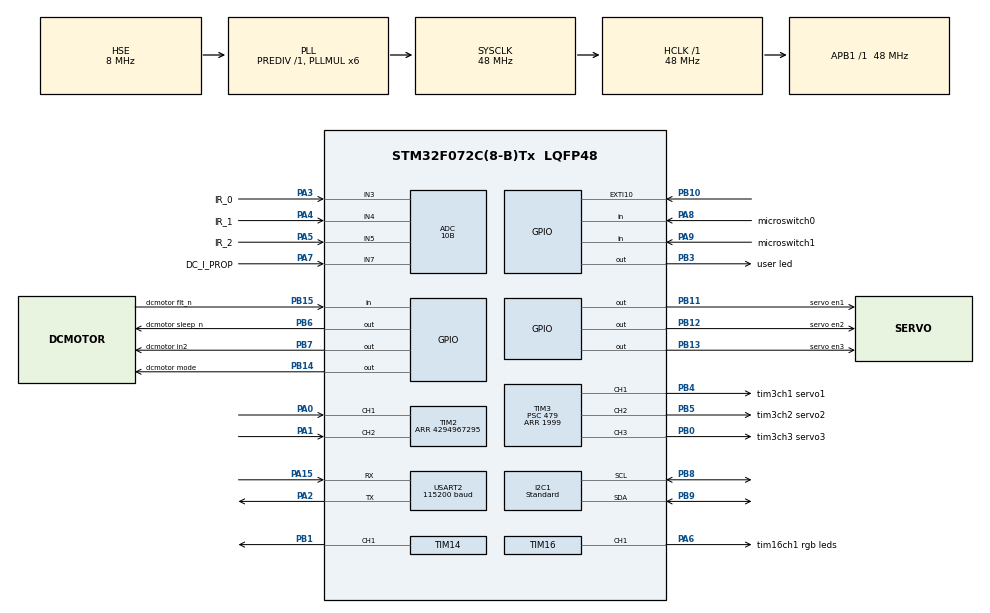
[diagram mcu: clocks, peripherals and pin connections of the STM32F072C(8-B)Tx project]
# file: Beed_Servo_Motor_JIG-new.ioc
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ADC.ContinuousConvMode=ENABLE
ADC.DMAContinuousRequests=ENABLE
ADC.Resolution=ADC_RESOLUTION_10B
ADC.SamplingTime=ADC_SAMPLETIME_71CYCLES_5
Dma.ADC.0.Direction=DMA_PERIPH_TO_MEMORY
Dma.ADC.0.Instance=DMA1_Channel1
Dma.ADC.0.MemDataAlignment=DMA_MDATAALIGN_HALFWORD
Dma.ADC.0.MemInc=DMA_MINC_ENABLE
Dma.ADC.0.Mode=DMA_CIRCULAR
Dma.ADC.0.PeriphDataAlignment=DMA_PDATAALIGN_HALFWORD
Dma.ADC.0.PeriphInc=DMA_PINC_DISABLE
Dma.ADC.0.Priority=DMA_PRIORITY_LOW
Dma.Request0=ADC
Dma.Request1=TIM16_CH1/UP
Dma.Request2=USART2_RX
Dma.TIM16_CH1/UP.1.Direction=DMA_MEMORY_TO_PERIPH
Dma.TIM16_CH1/UP.1.Instance=DMA1_Channel3
Dma.TIM16_CH1/UP.1.MemDataAlignment=DMA_MDATAALIGN_HALFWORD
Dma.TIM16_CH1/UP.1.MemInc=DMA_MINC_ENABLE
Dma.TIM16_CH1/UP.1.Mode=DMA_NORMAL
Dma.TIM16_CH1/UP.1.PeriphDataAlignment=DMA_PDATAALIGN_HALFWORD
Dma.TIM16_CH1/UP.1.PeriphInc=DMA_PINC_DISABLE
Dma.TIM16_CH1/UP.1.Priority=DMA_PRIORITY_VERY_HIGH
Dma.USART2_RX.2.Direction=DMA_PERIPH_TO_MEMORY
Dma.USART2_RX.2.Instance=DMA1_Channel5
Dma.USART2_RX.2.MemDataAlignment=DMA_MDATAALIGN_BYTE
Dma.USART2_RX.2.MemInc=DMA_MINC_ENABLE
Dma.USART2_RX.2.Mode=DMA_NORMAL
Dma.USART2_RX.2.PeriphDataAlignment=DMA_PDATAALIGN_BYTE
Dma.USART2_RX.2.PeriphInc=DMA_PINC_DISABLE
Dma.USART2_RX.2.Priority=DMA_PRIORITY_LOW
I2C1.I2C_Speed_Mode=I2C_Standard
Mcu.Family=STM32F0
Mcu.Name=STM32F072C(8-B)Tx
Mcu.Package=LQFP48
NVIC.DMA1_Channel1_IRQn=true\:0\:0\:false\:false\:true\:false\:true\:true
NVIC.DMA1_Channel2_3_IRQn=true\:0\:0\:false\:false\:true\:false\:true\:true
NVIC.DMA1_Channel4_5_6_7_IRQn=true\:0\:0\:false\:false\:true\:false\:true\:true
NVIC.EXTI4_15_IRQn=true\:0\:0\:false\:false\:true\:true\:true\:true
NVIC.TIM17_IRQn=true\:0\:0\:false\:false\:true\:true\:true\:true
NVIC.USART2_IRQn=true\:0\:0\:false\:true\:true\:1\:true\:true\:true
PA0.Signal=S_TIM2_CH1_ETR
PA1.Signal=S_TIM2_CH2
PA13.Mode=Serial_Wire
PA13.Signal=SYS_SWDIO
PA14.Mode=Serial_Wire
PA14.Signal=SYS_SWCLK
PA15.Mode=Asynchronous
PA15.Signal=USART2_RX
PA2.Mode=Asynchronous
PA2.Signal=USART2_TX
PA3.GPIO_Label=IR_0
PA3.Mode=IN3
PA3.Signal=ADC_IN3
PA4.GPIO_Label=IR_1
PA4.Mode=IN4
PA4.Signal=ADC_IN4
PA5.GPIO_Label=IR_2
PA5.Mode=IN5
PA5.Signal=ADC_IN5
PA6.GPIO_Label=tim16ch1 rgb leds
PA6.GPIO_Speed=GPIO_SPEED_FREQ_HIGH
PA6.Signal=S_TIM16_CH1
PA7.GPIO_Label=DC_I_PROP
PA7.Mode=IN7
PA7.Signal=ADC_IN7
PA8.GPIO_Label=microswitch0
PA8.Signal=GPIO_Input
PA9.GPIO_Label=microswitch1
PA9.Signal=GPIO_Input
PB0.GPIO_Label=tim3ch3 servo3
PB0.Signal=S_TIM3_CH3
PB1.Signal=S_TIM14_CH1
PB10.Signal=GPXTI10
PB11.GPIO_Label=servo en1
PB11.Signal=GPIO_Output
PB12.GPIO_Label=servo en2
PB12.Signal=GPIO_Output
PB13.GPIO_Label=servo en3
PB13.Signal=GPIO_Output
PB14.GPIO_Label=dcmotor mode
PB14.Signal=GPIO_Output
PB15.GPIO_Label=dcmotor flt_n
PB15.Signal=GPIO_Input
PB3.GPIO_Label=user led
PB3.Signal=GPIO_Output
PB4.GPIO_Label=tim3ch1 servo1
PB4.Signal=S_TIM3_CH1
PB5.GPIO_Label=tim3ch2 servo2
PB5.Signal=S_TIM3_CH2
PB6.GPIO_Label=dcmotor sleep_n
PB6.Signal=GPIO_Output
PB7.GPIO_Label=dcmotor in2
PB7.Signal=GPIO_Output
PB8.GPIO_Pu=GPIO_PULLUP
PB8.Mode=I2C
PB8.Signal=I2C1_SCL
PB9.GPIO_Pu=GPIO_PULLUP
PB9.Mode=I2C
PB9.Signal=I2C1_SDA
PF0-OSC_IN.Mode=HSE-External-Oscillator
PF0-OSC_IN.Signal=RCC_OSC_IN
PF1-OSC_OUT.Mode=HSE-External-Oscillator
PF1-OSC_OUT.Signal=RCC_OSC_OUT
ProjectManager.HeapSize=0x200
ProjectManager.StackSize=0x400
ProjectManager.TargetToolchain=STM32CubeIDE
RCC.AHBFreq_Value=48000000
RCC.APB1Freq_Value=48000000
RCC.APB1TimFreq_Value=48000000
RCC.HCLKFreq_Value=48000000
RCC.PLLMUL=RCC_PLL_MUL6
RCC.PLLSourceVirtual=RCC_PLLSOURCE_HSE
RCC.SYSCLKFreq_VALUE=48000000
RCC.SYSCLKSource=RCC_SYSCLKSOURCE_PLLCLK
SH.S_TIM14_CH1.0=TIM14_CH1,PWM Generation1 CH1
SH.S_TIM16_CH1.0=TIM16_CH1,PWM Generation1 CH1
SH.S_TIM2_CH1_ETR.0=TIM2_CH1,Encoder_Interface
SH.S_TIM2_CH2.0=TIM2_CH2,Encoder_Interface
SH.S_TIM3_CH1.0=TIM3_CH1,PWM Generation1 CH1
SH.S_TIM3_CH2.0=TIM3_CH2,PWM Generation2 CH2
SH.S_TIM3_CH3.0=TIM3_CH3,PWM Generation3 CH3
TIM14.Channel=TIM_CHANNEL_1
TIM14.Period=255
TIM14.Prescaler=2
TIM16.Channel=TIM_CHANNEL_1
TIM16.OCFastMode_PWM=TIM_OCFAST_DISABLE
TIM16.OCMode_PWM=TIM_OCMODE_PWM1
TIM16.OCPolarity_1=TIM_OCPOLARITY_HIGH
TIM16.Period=59
TIM16.Prescaler=0
TIM16.Pulse=15
TIM17.Period=99
TIM17.Prescaler=4799
TIM2.EncoderMode=TIM_ENCODERMODE_TI12
TIM2.Period=4294967295
TIM3.Channel-PWM\ Generation1\ CH1=TIM_CHANNEL_1
TIM3.Channel-PWM\ Generation2\ CH2=TIM_CHANNEL_2
TIM3.Channel-PWM\ Generation3\ CH3=TIM_CHANNEL_3
TIM3.Period=1999
TIM3.Prescaler=479
TIM3.Pulse-PWM\ Generation1\ CH1=50
TIM3.Pulse-PWM\ Generation2\ CH2=50
TIM3.Pulse-PWM\ Generation3\ CH3=50
USART2.BaudRate=115200
USART2.VirtualMode-Asynchronous=VM_ASYNC
VP_TIM14_VS_ClockSourceINT.Mode=Enable_Timer
VP_TIM16_VS_ClockSourceINT.Mode=Enable_Timer
VP_TIM17_VS_ClockSourceINT.Mode=Enable_Timer
VP_TIM3_VS_ClockSourceINT.Mode=Internal
board=custom

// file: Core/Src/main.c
/* USER CODE BEGIN Header */
/**
  ******************************************************************************
  * @file           : main.c
  * @brief          : Main program body
  ******************************************************************************
  * @attention
  *
  * Copyright (c) 2022 STMicroelectronics.
  * All rights reserved.
  *
  * This software is licensed under terms that can be found in the LICENSE file
  * in the root directory of this software component.
  * If no LICENSE file comes with this software, it is provided AS-IS.
  *
  ******************************************************************************
  */
/* USER CODE END Header */
#include "main.h"

/* USER CODE BEGIN Includes */
#include "servo.h"
#include "uart.h"
#include "decode_packet.h"
#include "functions.h"
#include "colors.h"
#include "addressable_led.h"
#include <stdlib.h>
#include <stdio.h>

/* USER CODE END Includes */

/* USER CODE BEGIN PD */
#define ms_pin GPIO_PIN_10
/* USER CODE END PD */

 ADC_HandleTypeDef hadc;
DMA_HandleTypeDef hdma_adc;

I2C_HandleTypeDef hi2c1;

TIM_HandleTypeDef htim2;
TIM_HandleTypeDef htim3;
TIM_HandleTypeDef htim14;
TIM_HandleTypeDef htim16;
TIM_HandleTypeDef htim17;
DMA_HandleTypeDef hdma_tim16_ch1_up;

UART_HandleTypeDef huart2;
DMA_HandleTypeDef hdma_usart2_rx;

/* USER CODE BEGIN PV */

servo_controller servo_motor_1;
int8_t servo_offset=0;
int servo_ang=0;

uint16_t adc_buffer[4]; //0-3 sensors HW configuration. 3 is dc motor

char buf[511]; //uart buff for messaging

long preMillis=0;

led_controller led_indicator;

/* USER CODE END PV */

void SystemClock_Config(void);
static void MX_GPIO_Init(void);
static void MX_DMA_Init(void);
static void MX_ADC_Init(void);
static void MX_TIM2_Init(void);
static void MX_TIM16_Init(void);
static void MX_TIM3_Init(void);
static void MX_USART2_UART_Init(void);
static void MX_TIM17_Init(void);
static void MX_TIM14_Init(void);
static void MX_I2C1_Init(void);
static void MX_NVIC_Init(void);

int main(void)
{

  /* MCU Configuration--------------------------------------------------------*/

  /* Reset of all peripherals, Initializes the Flash interface and the Systick. */
  HAL_Init();

  /* Configure the system clock */
  SystemClock_Config();

  /* Initialize all configured peripherals */
  MX_GPIO_Init();
  MX_DMA_Init();
  MX_ADC_Init();
  MX_TIM2_Init();
  MX_TIM16_Init();
  MX_TIM3_Init();
  MX_USART2_UART_Init();
  MX_TIM17_Init();
  MX_TIM14_Init();
  MX_I2C1_Init();

  /* Initialize interrupts */
  MX_NVIC_Init();
  /* USER CODE BEGIN 2 */

//------------------------------------------------UART

//  setup_uart();

//-------------------------------------------------servo init

  servo_init(&servo_motor_1,&htim3,TIM_CHANNEL_2,servo_offset,GPIOB,GPIO_PIN_5);

//-------------------------------------------------led init

  leds_init(&led_indicator, &htim16, TIM_CHANNEL_1);
  HAL_Delay(500);
//  set_led_color(&led_indicator,0, 255, 0, 0);
//  set_led_color(&led_indicator,0, 255, 0, 1);
  set_color(0,300,0,0);
  set_color(0,300,0,1);
  led_display(&led_indicator);

//------------------------------------------------

  /* USER CODE END 2 */

  /* Infinite loop */
  /* USER CODE BEGIN WHILE */
  while (1)
  {
	  if(IsDataAvailable())
	  {
		  char rxBuf[255] = {0};
	 	  int len = read_serial_all(rxBuf);
		  servo_ang=decode_packet(rxBuf, len);
	  }

	  motor_assy_logic();
	  servo_move(&servo_motor_1,0);
	  motor_torque_check();

    /* USER CODE END WHILE */

  }
}

void SystemClock_Config(void)
{
  RCC_OscInitTypeDef RCC_OscInitStruct = {0};
  RCC_ClkInitTypeDef RCC_ClkInitStruct = {0};
  RCC_PeriphCLKInitTypeDef PeriphClkInit = {0};

  /** Initializes the RCC Oscillators according to the specified parameters
  * in the RCC_OscInitTypeDef structure.
  */
  RCC_OscInitStruct.OscillatorType = RCC_OSCILLATORTYPE_HSI|RCC_OSCILLATORTYPE_HSI14
                              |RCC_OSCILLATORTYPE_HSE;
  RCC_OscInitStruct.HSEState = RCC_HSE_ON;
  RCC_OscInitStruct.HSIState = RCC_HSI_ON;
  RCC_OscInitStruct.HSI14State = RCC_HSI14_ON;
  RCC_OscInitStruct.HSICalibrationValue = RCC_HSICALIBRATION_DEFAULT;
  RCC_OscInitStruct.HSI14CalibrationValue = 16;
  RCC_OscInitStruct.PLL.PLLState = RCC_PLL_ON;
  RCC_OscInitStruct.PLL.PLLSource = RCC_PLLSOURCE_HSE;
  RCC_OscInitStruct.PLL.PLLMUL = RCC_PLL_MUL6;
  RCC_OscInitStruct.PLL.PREDIV = RCC_PREDIV_DIV1;
  if (HAL_RCC_OscConfig(&RCC_OscInitStruct) != HAL_OK)
  {
    Error_Handler();
  }

  /** Initializes the CPU, AHB and APB buses clocks
  */
  RCC_ClkInitStruct.ClockType = RCC_CLOCKTYPE_HCLK|RCC_CLOCKTYPE_SYSCLK
                              |RCC_CLOCKTYPE_PCLK1;
  RCC_ClkInitStruct.SYSCLKSource = RCC_SYSCLKSOURCE_PLLCLK;
  RCC_ClkInitStruct.AHBCLKDivider = RCC_SYSCLK_DIV1;
  RCC_ClkInitStruct.APB1CLKDivider = RCC_HCLK_DIV1;

  if (HAL_RCC_ClockConfig(&RCC_ClkInitStruct, FLASH_LATENCY_1) != HAL_OK)
  {
    Error_Handler();
  }
  PeriphClkInit.PeriphClockSelection = RCC_PERIPHCLK_USART2|RCC_PERIPHCLK_I2C1;
  PeriphClkInit.Usart2ClockSelection = RCC_USART2CLKSOURCE_PCLK1;
  PeriphClkInit.I2c1ClockSelection = RCC_I2C1CLKSOURCE_HSI;
  if (HAL_RCCEx_PeriphCLKConfig(&PeriphClkInit) != HAL_OK)
  {
    Error_Handler();
  }
}

/**
  * @brief NVIC Configuration.
  * @retval None
  */
static void MX_NVIC_Init(void)
{
  /* USART2_IRQn interrupt configuration */
  HAL_NVIC_SetPriority(USART2_IRQn, 0, 0);
  HAL_NVIC_EnableIRQ(USART2_IRQn);
}

static void MX_ADC_Init(void)
{

  ADC_ChannelConfTypeDef sConfig = {0};

  /** Configure the global features of the ADC (Clock, Resolution, Data Alignment and number of conversion)
  */
  hadc.Instance = ADC1;
  hadc.Init.ClockPrescaler = ADC_CLOCK_ASYNC_DIV1;
  hadc.Init.Resolution = ADC_RESOLUTION_10B;
  hadc.Init.DataAlign = ADC_DATAALIGN_RIGHT;
  hadc.Init.ScanConvMode = ADC_SCAN_DIRECTION_FORWARD;
  hadc.Init.EOCSelection = ADC_EOC_SINGLE_CONV;
  hadc.Init.LowPowerAutoWait = DISABLE;
  hadc.Init.LowPowerAutoPowerOff = DISABLE;
  hadc.Init.ContinuousConvMode = ENABLE;
  hadc.Init.DiscontinuousConvMode = DISABLE;
  hadc.Init.ExternalTrigConv = ADC_SOFTWARE_START;
  hadc.Init.ExternalTrigConvEdge = ADC_EXTERNALTRIGCONVEDGE_NONE;
  hadc.Init.DMAContinuousRequests = ENABLE;
  hadc.Init.Overrun = ADC_OVR_DATA_PRESERVED;
  if (HAL_ADC_Init(&hadc) != HAL_OK)
  {
    Error_Handler();
  }

  /** Configure for the selected ADC regular channel to be converted.
  */
  sConfig.Channel = ADC_CHANNEL_3;
  sConfig.Rank = ADC_RANK_CHANNEL_NUMBER;
  sConfig.SamplingTime = ADC_SAMPLETIME_71CYCLES_5;
  if (HAL_ADC_ConfigChannel(&hadc, &sConfig) != HAL_OK)
  {
    Error_Handler();
  }

  /** Configure for the selected ADC regular channel to be converted.
  */
  sConfig.Channel = ADC_CHANNEL_4;
  if (HAL_ADC_ConfigChannel(&hadc, &sConfig) != HAL_OK)
  {
    Error_Handler();
  }

  /** Configure for the selected ADC regular channel to be converted.
  */
  sConfig.Channel = ADC_CHANNEL_5;
  if (HAL_ADC_ConfigChannel(&hadc, &sConfig) != HAL_OK)
  {
    Error_Handler();
  }

  /** Configure for the selected ADC regular channel to be converted.
  */
  sConfig.Channel = ADC_CHANNEL_7;
  if (HAL_ADC_ConfigChannel(&hadc, &sConfig) != HAL_OK)
  {
    Error_Handler();
  }

}

static void MX_I2C1_Init(void)
{

  hi2c1.Instance = I2C1;
  hi2c1.Init.Timing = 0x2000090E;
  hi2c1.Init.OwnAddress1 = 0;
  hi2c1.Init.AddressingMode = I2C_ADDRESSINGMODE_7BIT;
  hi2c1.Init.DualAddressMode = I2C_DUALADDRESS_DISABLE;
  hi2c1.Init.OwnAddress2 = 0;
  hi2c1.Init.OwnAddress2Masks = I2C_OA2_NOMASK;
  hi2c1.Init.GeneralCallMode = I2C_GENERALCALL_DISABLE;
  hi2c1.Init.NoStretchMode = I2C_NOSTRETCH_DISABLE;
  if (HAL_I2C_Init(&hi2c1) != HAL_OK)
  {
    Error_Handler();
  }

  /** Configure Analogue filter
  */
  if (HAL_I2CEx_ConfigAnalogFilter(&hi2c1, I2C_ANALOGFILTER_ENABLE) != HAL_OK)
  {
    Error_Handler();
  }

  /** Configure Digital filter
  */
  if (HAL_I2CEx_ConfigDigitalFilter(&hi2c1, 0) != HAL_OK)
  {
    Error_Handler();
  }

}

static void MX_TIM2_Init(void)
{

  TIM_Encoder_InitTypeDef sConfig = {0};
  TIM_MasterConfigTypeDef sMasterConfig = {0};

  htim2.Instance = TIM2;
  htim2.Init.Prescaler = 0;
  htim2.Init.CounterMode = TIM_COUNTERMODE_UP;
  htim2.Init.Period = 4294967295;
  htim2.Init.ClockDivision = TIM_CLOCKDIVISION_DIV1;
  htim2.Init.AutoReloadPreload = TIM_AUTORELOAD_PRELOAD_DISABLE;
  sConfig.EncoderMode = TIM_ENCODERMODE_TI12;
  sConfig.IC1Polarity = TIM_ICPOLARITY_RISING;
  sConfig.IC1Selection = TIM_ICSELECTION_DIRECTTI;
  sConfig.IC1Prescaler = TIM_ICPSC_DIV1;
  sConfig.IC1Filter = 0;
  sConfig.IC2Polarity = TIM_ICPOLARITY_RISING;
  sConfig.IC2Selection = TIM_ICSELECTION_DIRECTTI;
  sConfig.IC2Prescaler = TIM_ICPSC_DIV1;
  sConfig.IC2Filter = 0;
  if (HAL_TIM_Encoder_Init(&htim2, &sConfig) != HAL_OK)
  {
    Error_Handler();
  }
  sMasterConfig.MasterOutputTrigger = TIM_TRGO_RESET;
  sMasterConfig.MasterSlaveMode = TIM_MASTERSLAVEMODE_DISABLE;
  if (HAL_TIMEx_MasterConfigSynchronization(&htim2, &sMasterConfig) != HAL_OK)
  {
    Error_Handler();
  }

}

static void MX_TIM3_Init(void)
{

  TIM_ClockConfigTypeDef sClockSourceConfig = {0};
  TIM_MasterConfigTypeDef sMasterConfig = {0};
  TIM_OC_InitTypeDef sConfigOC = {0};

  htim3.Instance = TIM3;
  htim3.Init.Prescaler = 479;
  htim3.Init.CounterMode = TIM_COUNTERMODE_UP;
  htim3.Init.Period = 1999;
  htim3.Init.ClockDivision = TIM_CLOCKDIVISION_DIV1;
  htim3.Init.AutoReloadPreload = TIM_AUTORELOAD_PRELOAD_DISABLE;
  if (HAL_TIM_Base_Init(&htim3) != HAL_OK)
  {
    Error_Handler();
  }
  sClockSourceConfig.ClockSource = TIM_CLOCKSOURCE_INTERNAL;
  if (HAL_TIM_ConfigClockSource(&htim3, &sClockSourceConfig) != HAL_OK)
  {
    Error_Handler();
  }
  if (HAL_TIM_PWM_Init(&htim3) != HAL_OK)
  {
    Error_Handler();
  }
  sMasterConfig.MasterOutputTrigger = TIM_TRGO_RESET;
  sMasterConfig.MasterSlaveMode = TIM_MASTERSLAVEMODE_DISABLE;
  if (HAL_TIMEx_MasterConfigSynchronization(&htim3, &sMasterConfig) != HAL_OK)
  {
    Error_Handler();
  }
  sConfigOC.OCMode = TIM_OCMODE_PWM1;
  sConfigOC.Pulse = 50;
  sConfigOC.OCPolarity = TIM_OCPOLARITY_HIGH;
  sConfigOC.OCFastMode = TIM_OCFAST_DISABLE;
  if (HAL_TIM_PWM_ConfigChannel(&htim3, &sConfigOC, TIM_CHANNEL_1) != HAL_OK)
  {
    Error_Handler();
  }
  if (HAL_TIM_PWM_ConfigChannel(&htim3, &sConfigOC, TIM_CHANNEL_2) != HAL_OK)
  {
    Error_Handler();
  }
  if (HAL_TIM_PWM_ConfigChannel(&htim3, &sConfigOC, TIM_CHANNEL_3) != HAL_OK)
  {
    Error_Handler();
  }
  HAL_TIM_MspPostInit(&htim3);

}

static void MX_TIM14_Init(void)
{

  TIM_OC_InitTypeDef sConfigOC = {0};

  htim14.Instance = TIM14;
  htim14.Init.Prescaler = 2;
  htim14.Init.CounterMode = TIM_COUNTERMODE_UP;
  htim14.Init.Period = 255;
  htim14.Init.ClockDivision = TIM_CLOCKDIVISION_DIV1;
  htim14.Init.AutoReloadPreload = TIM_AUTORELOAD_PRELOAD_DISABLE;
  if (HAL_TIM_Base_Init(&htim14) != HAL_OK)
  {
    Error_Handler();
  }
  if (HAL_TIM_PWM_Init(&htim14) != HAL_OK)
  {
    Error_Handler();
  }
  sConfigOC.OCMode = TIM_OCMODE_PWM1;
  sConfigOC.Pulse = 0;
  sConfigOC.OCPolarity = TIM_OCPOLARITY_HIGH;
  sConfigOC.OCFastMode = TIM_OCFAST_DISABLE;
  if (HAL_TIM_PWM_ConfigChannel(&htim14, &sConfigOC, TIM_CHANNEL_1) != HAL_OK)
  {
    Error_Handler();
  }
  HAL_TIM_MspPostInit(&htim14);

}

static void MX_TIM16_Init(void)
{

  TIM_OC_InitTypeDef sConfigOC = {0};
  TIM_BreakDeadTimeConfigTypeDef sBreakDeadTimeConfig = {0};

  htim16.Instance = TIM16;
  htim16.Init.Prescaler = 0;
  htim16.Init.CounterMode = TIM_COUNTERMODE_UP;
  htim16.Init.Period = 59;
  htim16.Init.ClockDivision = TIM_CLOCKDIVISION_DIV1;
  htim16.Init.RepetitionCounter = 0;
  htim16.Init.AutoReloadPreload = TIM_AUTORELOAD_PRELOAD_DISABLE;
  if (HAL_TIM_Base_Init(&htim16) != HAL_OK)
  {
    Error_Handler();
  }
  if (HAL_TIM_PWM_Init(&htim16) != HAL_OK)
  {
    Error_Handler();
  }
  sConfigOC.OCMode = TIM_OCMODE_PWM1;
  sConfigOC.Pulse = 15;
  sConfigOC.OCPolarity = TIM_OCPOLARITY_HIGH;
  sConfigOC.OCNPolarity = TIM_OCNPOLARITY_HIGH;
  sConfigOC.OCFastMode = TIM_OCFAST_DISABLE;
  sConfigOC.OCIdleState = TIM_OCIDLESTATE_RESET;
  sConfigOC.OCNIdleState = TIM_OCNIDLESTATE_RESET;
  if (HAL_TIM_PWM_ConfigChannel(&htim16, &sConfigOC, TIM_CHANNEL_1) != HAL_OK)
  {
    Error_Handler();
  }
  sBreakDeadTimeConfig.OffStateRunMode = TIM_OSSR_DISABLE;
  sBreakDeadTimeConfig.OffStateIDLEMode = TIM_OSSI_DISABLE;
  sBreakDeadTimeConfig.LockLevel = TIM_LOCKLEVEL_OFF;
  sBreakDeadTimeConfig.DeadTime = 0;
  sBreakDeadTimeConfig.BreakState = TIM_BREAK_DISABLE;
  sBreakDeadTimeConfig.BreakPolarity = TIM_BREAKPOLARITY_HIGH;
  sBreakDeadTimeConfig.AutomaticOutput = TIM_AUTOMATICOUTPUT_DISABLE;
  if (HAL_TIMEx_ConfigBreakDeadTime(&htim16, &sBreakDeadTimeConfig) != HAL_OK)
  {
    Error_Handler();
  }
  HAL_TIM_MspPostInit(&htim16);

}

static void MX_TIM17_Init(void)
{

  htim17.Instance = TIM17;
  htim17.Init.Prescaler = 4799;
  htim17.Init.CounterMode = TIM_COUNTERMODE_UP;
  htim17.Init.Period = 99;
  htim17.Init.ClockDivision = TIM_CLOCKDIVISION_DIV1;
  htim17.Init.RepetitionCounter = 0;
  htim17.Init.AutoReloadPreload = TIM_AUTORELOAD_PRELOAD_DISABLE;
  if (HAL_TIM_Base_Init(&htim17) != HAL_OK)
  {
    Error_Handler();
  }

}

static void MX_USART2_UART_Init(void)
{

  huart2.Instance = USART2;
  huart2.Init.BaudRate = 115200;
  huart2.Init.WordLength = UART_WORDLENGTH_8B;
  huart2.Init.StopBits = UART_STOPBITS_1;
  huart2.Init.Parity = UART_PARITY_NONE;
  huart2.Init.Mode = UART_MODE_TX_RX;
  huart2.Init.HwFlowCtl = UART_HWCONTROL_NONE;
  huart2.Init.OverSampling = UART_OVERSAMPLING_16;
  huart2.Init.OneBitSampling = UART_ONE_BIT_SAMPLE_DISABLE;
  huart2.AdvancedInit.AdvFeatureInit = UART_ADVFEATURE_NO_INIT;
  if (HAL_UART_Init(&huart2) != HAL_OK)
  {
    Error_Handler();
  }

}

static void MX_DMA_Init(void)
{

  /* DMA controller clock enable */
  __HAL_RCC_DMA1_CLK_ENABLE();

  /* DMA interrupt init */
  /* DMA1_Channel1_IRQn interrupt configuration */
  HAL_NVIC_SetPriority(DMA1_Channel1_IRQn, 0, 0);
  HAL_NVIC_EnableIRQ(DMA1_Channel1_IRQn);
  /* DMA1_Channel2_3_IRQn interrupt configuration */
  HAL_NVIC_SetPriority(DMA1_Channel2_3_IRQn, 0, 0);
  HAL_NVIC_EnableIRQ(DMA1_Channel2_3_IRQn);
  /* DMA1_Channel4_5_6_7_IRQn interrupt configuration */
  HAL_NVIC_SetPriority(DMA1_Channel4_5_6_7_IRQn, 0, 0);
  HAL_NVIC_EnableIRQ(DMA1_Channel4_5_6_7_IRQn);

}

static void MX_GPIO_Init(void)
{
  GPIO_InitTypeDef GPIO_InitStruct = {0};

  /* GPIO Ports Clock Enable */
  __HAL_RCC_GPIOF_CLK_ENABLE();
  __HAL_RCC_GPIOA_CLK_ENABLE();
  __HAL_RCC_GPIOB_CLK_ENABLE();

  /*Configure GPIO pin Output Level */
  HAL_GPIO_WritePin(GPIOB, servo_en1_Pin|servo_en2_Pin|servo_en3_Pin|dcmotor_mode_Pin
                          |user_led_Pin|dcmotor_sleep_n_Pin|dcmotor_in2_Pin, GPIO_PIN_RESET);

  /*Configure GPIO pin : PB10 */
  GPIO_InitStruct.Pin = GPIO_PIN_10;
  GPIO_InitStruct.Mode = GPIO_MODE_IT_RISING;
  GPIO_InitStruct.Pull = GPIO_NOPULL;
  HAL_GPIO_Init(GPIOB, &GPIO_InitStruct);

  /*Configure GPIO pins : servo_en1_Pin servo_en2_Pin servo_en3_Pin dcmotor_mode_Pin
                           user_led_Pin dcmotor_sleep_n_Pin dcmotor_in2_Pin */
  GPIO_InitStruct.Pin = servo_en1_Pin|servo_en2_Pin|servo_en3_Pin|dcmotor_mode_Pin
                          |user_led_Pin|dcmotor_sleep_n_Pin|dcmotor_in2_Pin;
  GPIO_InitStruct.Mode = GPIO_MODE_OUTPUT_PP;
  GPIO_InitStruct.Pull = GPIO_NOPULL;
  GPIO_InitStruct.Speed = GPIO_SPEED_FREQ_LOW;
  HAL_GPIO_Init(GPIOB, &GPIO_InitStruct);

  /*Configure GPIO pin : dcmotor_flt_n_Pin */
  GPIO_InitStruct.Pin = dcmotor_flt_n_Pin;
  GPIO_InitStruct.Mode = GPIO_MODE_INPUT;
  GPIO_InitStruct.Pull = GPIO_NOPULL;
  HAL_GPIO_Init(dcmotor_flt_n_GPIO_Port, &GPIO_InitStruct);

  /*Configure GPIO pins : microswitch0_Pin microswitch1_Pin */
  GPIO_InitStruct.Pin = microswitch0_Pin|microswitch1_Pin;
  GPIO_InitStruct.Mode = GPIO_MODE_INPUT;
  GPIO_InitStruct.Pull = GPIO_NOPULL;
  HAL_GPIO_Init(GPIOA, &GPIO_InitStruct);

  /* EXTI interrupt init*/
  HAL_NVIC_SetPriority(EXTI4_15_IRQn, 0, 0);
  HAL_NVIC_EnableIRQ(EXTI4_15_IRQn);

}

void Error_Handler(void)
{
  __disable_irq();
  while (1)
  {
  }
}
